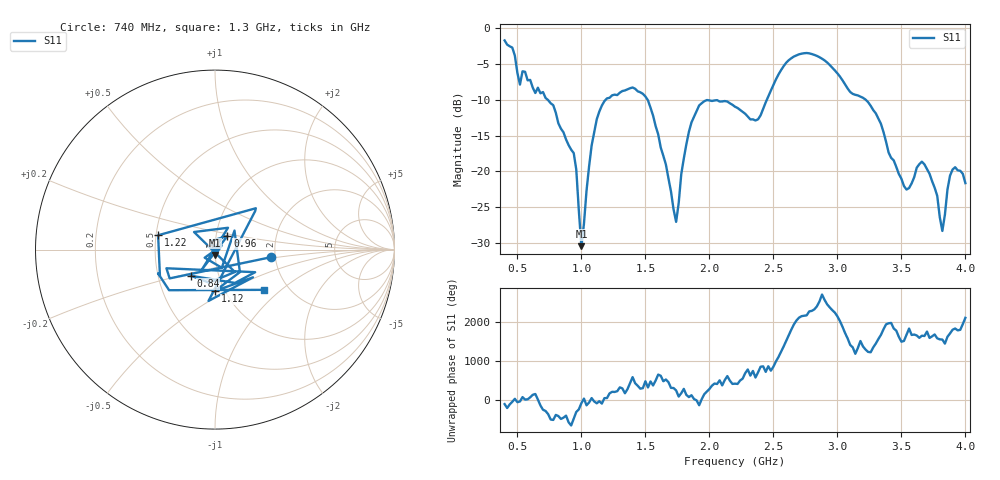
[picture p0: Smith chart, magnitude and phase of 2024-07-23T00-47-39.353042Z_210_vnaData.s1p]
!Created with skrf (http://scikit-rf.org).
# Hz S RI R 50.0
!freq ReS11 ImS11
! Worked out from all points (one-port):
!   181 points, 400 MHz to 4 GHz, reference 50 ohm
!   lowest |S11| = -30.5 dB at 1 GHz (marker M1), VSWR 1.06, Z = 50.1 - j2.99 ohm
!   |S11| at or under -10 dB: 737.3 MHz to 1.189 GHz (452 MHz wide, 46.9 % of centre); 1.517 GHz to 2.449 GHz (931.3 MHz wide, 47 % of centre); 3.222 GHz to end of sweep
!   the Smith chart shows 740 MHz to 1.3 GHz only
!   S11 on the Smith chart (normalised r, x): 740 MHz: 1.90, -0.18; 840 MHz: 0.73, -0.22; 960 MHz: 1.13, +0.17; 1.12 GHz: 0.90, -0.44; 1.22 GHz: 0.51, +0.09; 1.3 GHz: 1.52, -0.78
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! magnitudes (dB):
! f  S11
! 400 MHz  -1.7
! 520 MHz  -7.9
! 560 MHz  -6.1
! 740 MHz  -10.0
! 840 MHz  -14.0
! 860 MHz  -14.6
! 960 MHz  -19.8
! 1 GHz  -30.5
! 1.06 GHz  -19.3
! 1.12 GHz  -12.7
! 1.22 GHz  -9.7
! 1.3 GHz  -9.0
! 1.52 GHz  -10.1
! 1.74 GHz  -27.1
! 1.76 GHz  -24.5
! 1.84 GHz  -14.5
! 1.92 GHz  -10.8
! 2.2 GHz  -11.0
! 2.38 GHz  -12.7
! 2.66 GHz  -3.9
! 3.1 GHz  -8.9
! 3.3 GHz  -11.9
! 3.56 GHz  -22.4
! 3.68 GHz  -19.0
! 3.78 GHz  -23.4
! 3.82 GHz  -28.4
! 3.9 GHz  -19.8
! 4 GHz  -21.7
